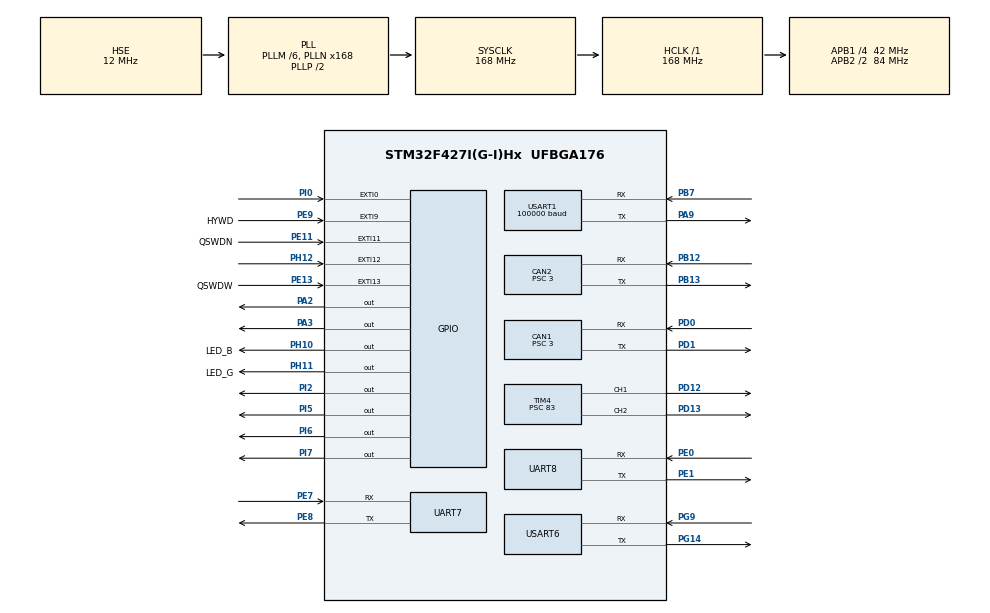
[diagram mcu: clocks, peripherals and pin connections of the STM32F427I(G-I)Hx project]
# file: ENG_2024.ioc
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CAN1.ABOM=DISABLE
CAN1.AWUM=DISABLE
CAN1.BS1=CAN_BS1_10TQ
CAN1.BS2=CAN_BS2_3TQ
CAN1.CalculateBaudRate=1000000
CAN1.CalculateTimeBit=1000
CAN1.CalculateTimeQuantum=71.42857142857143
CAN1.Mode=CAN_MODE_NORMAL
CAN1.NART=DISABLE
CAN1.Prescaler=3
CAN1.RFLM=DISABLE
CAN1.SJW=CAN_SJW_1TQ
CAN1.TTCM=DISABLE
CAN1.TXFP=DISABLE
CAN2.BS1=CAN_BS1_10TQ
CAN2.BS2=CAN_BS2_3TQ
CAN2.CalculateBaudRate=1000000
CAN2.CalculateTimeBit=1000
CAN2.CalculateTimeQuantum=71.42857142857143
CAN2.Prescaler=3
Dma.Request0=USART1_RX
Dma.Request1=UART7_RX
Dma.Request2=USART6_RX
Dma.Request3=UART7_TX
Dma.Request4=USART6_TX
Dma.Request5=UART8_RX
Dma.UART7_RX.1.Direction=DMA_PERIPH_TO_MEMORY
Dma.UART7_RX.1.FIFOMode=DMA_FIFOMODE_DISABLE
Dma.UART7_RX.1.Instance=DMA1_Stream3
Dma.UART7_RX.1.MemDataAlignment=DMA_MDATAALIGN_BYTE
Dma.UART7_RX.1.MemInc=DMA_MINC_ENABLE
Dma.UART7_RX.1.Mode=DMA_CIRCULAR
Dma.UART7_RX.1.PeriphDataAlignment=DMA_PDATAALIGN_BYTE
Dma.UART7_RX.1.PeriphInc=DMA_PINC_DISABLE
Dma.UART7_RX.1.Priority=DMA_PRIORITY_VERY_HIGH
Dma.UART7_TX.3.Direction=DMA_MEMORY_TO_PERIPH
Dma.UART7_TX.3.FIFOMode=DMA_FIFOMODE_DISABLE
Dma.UART7_TX.3.Instance=DMA1_Stream1
Dma.UART7_TX.3.MemDataAlignment=DMA_MDATAALIGN_BYTE
Dma.UART7_TX.3.MemInc=DMA_MINC_ENABLE
Dma.UART7_TX.3.Mode=DMA_NORMAL
Dma.UART7_TX.3.PeriphDataAlignment=DMA_PDATAALIGN_BYTE
Dma.UART7_TX.3.PeriphInc=DMA_PINC_DISABLE
Dma.UART7_TX.3.Priority=DMA_PRIORITY_VERY_HIGH
Dma.UART8_RX.5.Direction=DMA_PERIPH_TO_MEMORY
Dma.UART8_RX.5.FIFOMode=DMA_FIFOMODE_DISABLE
Dma.UART8_RX.5.Instance=DMA1_Stream6
Dma.UART8_RX.5.MemDataAlignment=DMA_MDATAALIGN_BYTE
Dma.UART8_RX.5.MemInc=DMA_MINC_ENABLE
Dma.UART8_RX.5.Mode=DMA_CIRCULAR
Dma.UART8_RX.5.PeriphDataAlignment=DMA_PDATAALIGN_BYTE
Dma.UART8_RX.5.PeriphInc=DMA_PINC_DISABLE
Dma.UART8_RX.5.Priority=DMA_PRIORITY_LOW
Dma.USART1_RX.0.Direction=DMA_PERIPH_TO_MEMORY
Dma.USART1_RX.0.FIFOMode=DMA_FIFOMODE_DISABLE
Dma.USART1_RX.0.Instance=DMA2_Stream2
Dma.USART1_RX.0.MemDataAlignment=DMA_MDATAALIGN_BYTE
Dma.USART1_RX.0.MemInc=DMA_MINC_ENABLE
Dma.USART1_RX.0.Mode=DMA_CIRCULAR
Dma.USART1_RX.0.PeriphDataAlignment=DMA_PDATAALIGN_BYTE
Dma.USART1_RX.0.PeriphInc=DMA_PINC_DISABLE
Dma.USART1_RX.0.Priority=DMA_PRIORITY_VERY_HIGH
Dma.USART6_RX.2.Direction=DMA_PERIPH_TO_MEMORY
Dma.USART6_RX.2.FIFOMode=DMA_FIFOMODE_DISABLE
Dma.USART6_RX.2.Instance=DMA2_Stream1
Dma.USART6_RX.2.MemDataAlignment=DMA_MDATAALIGN_BYTE
Dma.USART6_RX.2.MemInc=DMA_MINC_ENABLE
Dma.USART6_RX.2.Mode=DMA_CIRCULAR
Dma.USART6_RX.2.PeriphDataAlignment=DMA_PDATAALIGN_BYTE
Dma.USART6_RX.2.PeriphInc=DMA_PINC_DISABLE
Dma.USART6_RX.2.Priority=DMA_PRIORITY_LOW
Dma.USART6_TX.4.Direction=DMA_MEMORY_TO_PERIPH
Dma.USART6_TX.4.FIFOMode=DMA_FIFOMODE_DISABLE
Dma.USART6_TX.4.Instance=DMA2_Stream6
Dma.USART6_TX.4.MemDataAlignment=DMA_MDATAALIGN_BYTE
Dma.USART6_TX.4.MemInc=DMA_MINC_ENABLE
Dma.USART6_TX.4.Mode=DMA_NORMAL
Dma.USART6_TX.4.PeriphDataAlignment=DMA_PDATAALIGN_BYTE
Dma.USART6_TX.4.PeriphInc=DMA_PINC_DISABLE
Dma.USART6_TX.4.Priority=DMA_PRIORITY_LOW
FREERTOS.HEAP_NUMBER=4
FREERTOS.INCLUDE_eTaskGetState=0
FREERTOS.INCLUDE_pcTaskGetTaskName=0
FREERTOS.INCLUDE_uxTaskGetStackHighWaterMark=0
FREERTOS.INCLUDE_uxTaskGetStackHighWaterMark2=0
FREERTOS.INCLUDE_uxTaskPriorityGet=1
FREERTOS.INCLUDE_vTaskCleanUpResources=0
FREERTOS.INCLUDE_vTaskDelay=1
FREERTOS.INCLUDE_vTaskDelayUntil=1
FREERTOS.INCLUDE_vTaskDelete=1
FREERTOS.INCLUDE_vTaskPrioritySet=1
FREERTOS.INCLUDE_vTaskSuspend=1
FREERTOS.INCLUDE_xEventGroupSetBitFromISR=0
FREERTOS.INCLUDE_xQueueGetMutexHolder=0
FREERTOS.INCLUDE_xSemaphoreGetMutexHolder=0
FREERTOS.INCLUDE_xTaskAbortDelay=0
FREERTOS.INCLUDE_xTaskGetCurrentTaskHandle=1
FREERTOS.INCLUDE_xTaskGetHandle=0
FREERTOS.INCLUDE_xTaskResumeFromISR=1
FREERTOS.MEMORY_ALLOCATION=2
FREERTOS.Tasks01=defaultTask,8,128,StartDefaultTask,Default,NULL,Dynamic,NULL,NULL;Moto,40,128,MotoTask,As weak,NULL,Dynamic,NULL,NULL;DataSyncAnC,24,128,DataSyncAnCTask,As weak,NULL,Dynamic,NULL,NULL;CtrlLock,24,128,CtrlLockTask,As weak,NULL,Dynamic,NULL,NULL;AutoFetch,24,128,AutoFetchTask,As weak,NULL,Dynamic,NULL,NULL;TimeCtrl,24,128,TimeCtrlTask,As weak,NULL,Dynamic,NULL,NULL;UI,24,128,UITask,As weak,NULL,Dynamic,NULL,NULL;ChassisMoto,24,128,ChassisMotoTask,As weak,NULL,Dynamic,NULL,NULL;ModePose,40,128,ModePoseTask,As weak,NULL,Dynamic,NULL,NULL;RotationSlow,24,128,RotationSlowTask,As weak,NULL,Dynamic,NULL,NULL;Lift,24,128,LiftTask,As weak,NULL,Dynamic,NULL,NULL;VirtualLink,24,128,VirtualLinkTask,As weak,NULL,Dynamic,NULL,NULL;DebugMode,24,128,DebugModeTask,As weak,NULL,Dynamic,NULL,NULL;Offset,24,128,OffsetTask,As weak,NULL,Dynamic,NULL,NULL;canRecv,40,128,canRecvTask,As weak,NULL,Dynamic,NULL,NULL;SecondArm,40,128,SecondArmTask,As weak,NULL,Dynamic,NULL,NULL;ModeManage,40,128,ModeManageTask,As weak,NULL,Dynamic,NULL,NULL;ModeExec,40,128,ModeExecTask,As weak,NULL,Dynamic,NULL,NULL
FREERTOS.configCHECK_FOR_STACK_OVERFLOW=0
FREERTOS.configENABLE_BACKWARD_COMPATIBILITY=1
FREERTOS.configENABLE_FPU=0
FREERTOS.configGENERATE_RUN_TIME_STATS=0
FREERTOS.configIDLE_SHOULD_YIELD=1
FREERTOS.configLIBRARY_LOWEST_INTERRUPT_PRIORITY=15
FREERTOS.configLIBRARY_MAX_SYSCALL_INTERRUPT_PRIORITY=5
FREERTOS.configMAX_CO_ROUTINE_PRIORITIES=2
FREERTOS.configMAX_PRIORITIES=7
FREERTOS.configMAX_TASK_NAME_LEN=16
FREERTOS.configMINIMAL_STACK_SIZE=128
FREERTOS.configQUEUE_REGISTRY_SIZE=8
FREERTOS.configRECORD_STACK_HIGH_ADDRESS=0
FREERTOS.configTICK_RATE_HZ=1000
FREERTOS.configTOTAL_HEAP_SIZE=15360
FREERTOS.configUSE_APPLICATION_TASK_TAG=0
FREERTOS.configUSE_COUNTING_SEMAPHORES=1
FREERTOS.configUSE_CO_ROUTINES=0
FREERTOS.configUSE_DAEMON_TASK_STARTUP_HOOK=0
FREERTOS.configUSE_IDLE_HOOK=0
FREERTOS.configUSE_MALLOC_FAILED_HOOK=0
FREERTOS.configUSE_MUTEXES=1
FREERTOS.configUSE_NEWLIB_REENTRANT=0
FREERTOS.configUSE_POSIX_ERRNO=0
FREERTOS.configUSE_PREEMPTION=1
FREERTOS.configUSE_RECURSIVE_MUTEXES=1
FREERTOS.configUSE_STATS_FORMATTING_FUNCTIONS=0
FREERTOS.configUSE_TASK_NOTIFICATIONS=1
FREERTOS.configUSE_TICKLESS_IDLE=0
FREERTOS.configUSE_TICK_HOOK=0
FREERTOS.configUSE_TIMERS=0
FREERTOS.configUSE_TRACE_FACILITY=0
FREERTOS.copyHeapFile=1
Mcu.Family=STM32F4
Mcu.Name=STM32F427I(G-I)Hx
Mcu.Package=UFBGA176
NVIC.CAN1_RX0_IRQn=true\:5\:0\:false\:false\:true\:true\:true\:true\:true
NVIC.CAN1_RX1_IRQn=true\:5\:0\:false\:false\:true\:true\:true\:true\:true
NVIC.CAN2_RX0_IRQn=true\:5\:0\:true\:false\:true\:true\:true\:true\:true
NVIC.CAN2_RX1_IRQn=true\:5\:0\:true\:false\:true\:true\:true\:true\:true
NVIC.DMA1_Stream1_IRQn=true\:5\:0\:false\:false\:true\:true\:false\:true\:true
NVIC.DMA1_Stream3_IRQn=true\:5\:0\:false\:false\:true\:true\:false\:true\:true
NVIC.DMA1_Stream6_IRQn=true\:5\:0\:false\:false\:true\:true\:false\:true\:true
NVIC.DMA2_Stream1_IRQn=true\:5\:0\:false\:false\:true\:true\:false\:true\:true
NVIC.DMA2_Stream2_IRQn=true\:5\:0\:true\:false\:true\:false\:true\:true\:true
NVIC.DMA2_Stream6_IRQn=true\:5\:0\:false\:false\:true\:true\:false\:true\:true
NVIC.EXTI0_IRQn=true\:5\:0\:false\:false\:true\:true\:true\:true\:true
NVIC.EXTI15_10_IRQn=true\:5\:0\:false\:false\:true\:true\:true\:true\:true
NVIC.EXTI9_5_IRQn=true\:5\:0\:false\:false\:true\:true\:true\:true\:true
NVIC.PriorityGroup=NVIC_PRIORITYGROUP_4
NVIC.TIM7_IRQn=true\:15\:0\:false\:false\:true\:false\:true\:true\:true
NVIC.TimeBase=TIM7_IRQn
NVIC.TimeBaseIP=TIM7
NVIC.UART7_IRQn=true\:5\:0\:false\:false\:true\:true\:true\:true\:true
NVIC.UART8_IRQn=true\:5\:0\:false\:false\:true\:true\:true\:true\:true
NVIC.USART1_IRQn=true\:5\:0\:true\:false\:true\:true\:true\:true\:true
NVIC.USART6_IRQn=true\:5\:0\:false\:false\:true\:true\:true\:true\:true
PA13.Mode=Serial_Wire
PA13.Signal=SYS_JTMS-SWDIO
PA14.Mode=Serial_Wire
PA14.Signal=SYS_JTCK-SWCLK
PA2.GPIO_PuPd=GPIO_PULLDOWN
PA2.Signal=GPIO_Output
PA3.GPIO_PuPd=GPIO_PULLDOWN
PA3.Signal=GPIO_Output
PA9.Mode=Asynchronous
PA9.Signal=USART1_TX
PB12.Mode=CAN_Activate
PB12.Signal=CAN2_RX
PB13.Mode=CAN_Activate
PB13.Signal=CAN2_TX
PB7.Mode=Asynchronous
PB7.Signal=USART1_RX
PD0.Mode=CAN_Activate
PD0.Signal=CAN1_RX
PD1.Mode=CAN_Activate
PD1.Signal=CAN1_TX
PD12.Signal=S_TIM4_CH1
PD13.Signal=S_TIM4_CH2
PE0.Mode=Asynchronous
PE0.Signal=UART8_RX
PE1.Mode=Asynchronous
PE1.Signal=UART8_TX
PE11.GPIO_Label=QSWDN
PE11.GPIO_ModeDefaultEXTI=GPIO_MODE_IT_RISING_FALLING
PE11.GPIO_PuPd=GPIO_PULLDOWN
PE11.Signal=GPXTI11
PE13.GPIO_Label=QSWDW
PE13.GPIO_ModeDefaultEXTI=GPIO_MODE_IT_RISING_FALLING
PE13.GPIO_PuPd=GPIO_PULLDOWN
PE13.Signal=GPXTI13
PE7.Mode=Asynchronous
PE7.Signal=UART7_RX
PE8.Mode=Asynchronous
PE8.Signal=UART7_TX
PE9.GPIO_Label=HYWD
PE9.GPIO_ModeDefaultEXTI=GPIO_MODE_IT_RISING_FALLING
PE9.GPIO_PuPd=GPIO_PULLDOWN
PE9.Signal=GPXTI9
PG14.Mode=Asynchronous
PG14.Signal=USART6_TX
PG9.Mode=Asynchronous
PG9.Signal=USART6_RX
PH0/OSC_IN.Mode=HSE-External-Oscillator
PH0/OSC_IN.Signal=RCC_OSC_IN
PH1/OSC_OUT.Mode=HSE-External-Oscillator
PH1/OSC_OUT.Signal=RCC_OSC_OUT
PH10.GPIO_Label=LED_B
PH10.Signal=GPIO_Output
PH11.GPIO_Label=LED_G
PH11.Signal=GPIO_Output
PH12.GPIO_ModeDefaultEXTI=GPIO_MODE_IT_RISING_FALLING
PH12.GPIO_PuPd=GPIO_PULLDOWN
PH12.Signal=GPXTI12
PI0.GPIO_ModeDefaultEXTI=GPIO_MODE_IT_RISING_FALLING
PI0.GPIO_PuPd=GPIO_PULLDOWN
PI0.Signal=GPXTI0
PI2.GPIO_PuPd=GPIO_PULLDOWN
PI2.Signal=GPIO_Output
PI5.GPIO_PuPd=GPIO_PULLDOWN
PI5.Signal=GPIO_Output
PI6.GPIO_PuPd=GPIO_PULLDOWN
PI6.Signal=GPIO_Output
PI7.GPIO_PuPd=GPIO_PULLDOWN
PI7.Signal=GPIO_Output
ProjectManager.HeapSize=0x200
ProjectManager.StackSize=0x400
ProjectManager.TargetToolchain=MDK-ARM V5
RCC.48MHZClocksFreq_Value=84000000
RCC.AHBFreq_Value=168000000
RCC.APB1CLKDivider=RCC_HCLK_DIV4
RCC.APB1Freq_Value=42000000
RCC.APB1TimFreq_Value=84000000
RCC.APB2CLKDivider=RCC_HCLK_DIV2
RCC.APB2Freq_Value=84000000
RCC.APB2TimFreq_Value=168000000
RCC.CortexFreq_Value=168000000
RCC.FLatency=FLASH_LATENCY_5
RCC.HCLKFreq_Value=168000000
RCC.HSE_VALUE=12000000
RCC.HSI_VALUE=16000000
RCC.LSE_VALUE=32768
RCC.PLLM=6
RCC.PLLN=168
RCC.PLLSourceVirtual=RCC_PLLSOURCE_HSE
RCC.PWR_Regulator_Voltage_Scale=PWR_REGULATOR_VOLTAGE_SCALE1
RCC.SYSCLKFreq_VALUE=168000000
RCC.SYSCLKSource=RCC_SYSCLKSOURCE_PLLCLK
RCC.VCOOutputFreq_Value=336000000
SH.S_TIM4_CH1.0=TIM4_CH1,PWM Generation1 CH1
SH.S_TIM4_CH2.0=TIM4_CH2,PWM Generation2 CH2
TIM2.AutoReloadPreload=TIM_AUTORELOAD_PRELOAD_ENABLE
TIM2.ClockDivision=TIM_CLOCKDIVISION_DIV1
TIM2.CounterMode=TIM_COUNTERMODE_UP
TIM2.Period=0xffffffff
TIM2.Prescaler=84-1
TIM2.TIM_MasterOutputTrigger=TIM_TRGO_RESET
TIM2.TIM_MasterSlaveMode=TIM_MASTERSLAVEMODE_DISABLE
TIM4.Channel-PWM\ Generation1\ CH1=TIM_CHANNEL_1
TIM4.Channel-PWM\ Generation2\ CH2=TIM_CHANNEL_2
TIM4.Period=20000
TIM4.Prescaler=83
UART7.Parity=PARITY_NONE
UART7.VirtualMode=Asynchronous
UART7.WordLength=WORDLENGTH_8B
UART8.VirtualMode=Asynchronous
USART1.BaudRate=100000
USART1.Mode=MODE_RX
USART1.Parity=PARITY_EVEN
USART1.VirtualMode=VM_ASYNC
USART6.Parity=PARITY_NONE
USART6.VirtualMode=VM_ASYNC
USART6.WordLength=WORDLENGTH_8B
VP_FREERTOS_VS_CMSIS_V2.Mode=CMSIS_V2
VP_SYS_VS_tim7.Mode=TIM7
VP_TIM2_VS_ClockSourceINT.Mode=Internal
board=custom

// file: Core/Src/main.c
/* USER CODE BEGIN Header */
/**
  ******************************************************************************
  * @file           : main.c
  * @brief          : Main program body
  ******************************************************************************
  * @attention
  *
  * Copyright (c) 2024 STMicroelectronics.
  * All rights reserved.
  *
  * This software is licensed under terms that can be found in the LICENSE file
  * in the root directory of this software component.
  * If no LICENSE file comes with this software, it is provided AS-IS.
  *
  ******************************************************************************
  */
/* USER CODE END Header */
#include "main.h"
#include "cmsis_os.h"
#include "can.h"
#include "dma.h"
#include "tim.h"
#include "usart.h"
#include "gpio.h"

/* USER CODE BEGIN Includes */
#include "can_zbw.h"
#include "uart_zbw.h"
#include "trace.h"
#include "RcDriver.h"
#include "key.h"
#include "wd.h"
#include "pwm.h"
/* USER CODE END Includes */

void SystemClock_Config(void);
void MX_FREERTOS_Init(void);

int main(void)
{

  /* MCU Configuration--------------------------------------------------------*/

  /* Reset of all peripherals, Initializes the Flash interface and the Systick. */
  HAL_Init();

  /* Configure the system clock */
  SystemClock_Config();

  /* Initialize all configured peripherals */
  MX_GPIO_Init();
  MX_DMA_Init();
  MX_CAN1_Init();
  MX_CAN2_Init();
  MX_TIM2_Init();
  MX_USART1_UART_Init();
  MX_UART7_Init();
  MX_USART6_UART_Init();
  MX_TIM4_Init();
  MX_UART8_Init();
  /* USER CODE BEGIN 2 */
	can_filter_init();
	__HAL_TIM_ENABLE(&htim2);
	usart_dma_init();
//	usart_init();
	wd_init();
	trace_init();
	PWM_Start();
	Key_Init();
  /* USER CODE END 2 */

  /* Init scheduler */
  osKernelInitialize();

  /* Call init function for freertos objects (in freertos.c) */
  MX_FREERTOS_Init();

  /* Start scheduler */
  osKernelStart();

  /* We should never get here as control is now taken by the scheduler */
  /* Infinite loop */
  while (1)
  {

  }
}

void SystemClock_Config(void)
{
  RCC_OscInitTypeDef RCC_OscInitStruct = {0};
  RCC_ClkInitTypeDef RCC_ClkInitStruct = {0};

  /** Configure the main internal regulator output voltage
  */
  __HAL_RCC_PWR_CLK_ENABLE();
  __HAL_PWR_VOLTAGESCALING_CONFIG(PWR_REGULATOR_VOLTAGE_SCALE1);

  /** Initializes the RCC Oscillators according to the specified parameters
  * in the RCC_OscInitTypeDef structure.
  */
  RCC_OscInitStruct.OscillatorType = RCC_OSCILLATORTYPE_HSE;
  RCC_OscInitStruct.HSEState = RCC_HSE_ON;
  RCC_OscInitStruct.PLL.PLLState = RCC_PLL_ON;
  RCC_OscInitStruct.PLL.PLLSource = RCC_PLLSOURCE_HSE;
  RCC_OscInitStruct.PLL.PLLM = 6;
  RCC_OscInitStruct.PLL.PLLN = 168;
  RCC_OscInitStruct.PLL.PLLP = RCC_PLLP_DIV2;
  RCC_OscInitStruct.PLL.PLLQ = 4;
  if (HAL_RCC_OscConfig(&RCC_OscInitStruct) != HAL_OK)
  {
    Error_Handler();
  }

  /** Initializes the CPU, AHB and APB buses clocks
  */
  RCC_ClkInitStruct.ClockType = RCC_CLOCKTYPE_HCLK|RCC_CLOCKTYPE_SYSCLK
                              |RCC_CLOCKTYPE_PCLK1|RCC_CLOCKTYPE_PCLK2;
  RCC_ClkInitStruct.SYSCLKSource = RCC_SYSCLKSOURCE_PLLCLK;
  RCC_ClkInitStruct.AHBCLKDivider = RCC_SYSCLK_DIV1;
  RCC_ClkInitStruct.APB1CLKDivider = RCC_HCLK_DIV4;
  RCC_ClkInitStruct.APB2CLKDivider = RCC_HCLK_DIV2;

  if (HAL_RCC_ClockConfig(&RCC_ClkInitStruct, FLASH_LATENCY_5) != HAL_OK)
  {
    Error_Handler();
  }
}

void HAL_TIM_PeriodElapsedCallback(TIM_HandleTypeDef *htim)
{
  if (htim->Instance == TIM7) {
    HAL_IncTick();
  }
}

void Error_Handler(void)
{
  __disable_irq();
  while (1)
  {
  }
}

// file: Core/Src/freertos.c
/* USER CODE BEGIN Header */
/**
  ******************************************************************************
  * File Name          : freertos.c
  * Description        : Code for freertos applications
  ******************************************************************************
  * @attention
  *
  * Copyright (c) 2024 STMicroelectronics.
  * All rights reserved.
  *
  * This software is licensed under terms that can be found in the LICENSE file
  * in the root directory of this software component.
  * If no LICENSE file comes with this software, it is provided AS-IS.
  *
  ******************************************************************************
  */
/* USER CODE END Header */

#include "FreeRTOS.h"
#include "task.h"
#include "main.h"
#include "cmsis_os.h"

/* Definitions for defaultTask */
osThreadId_t defaultTaskHandle;
const osThreadAttr_t defaultTask_attributes = {
  .name = "defaultTask",
  .stack_size = 128 * 4,
  .priority = (osPriority_t) osPriorityLow,
};
/* Definitions for Moto */
osThreadId_t MotoHandle;
const osThreadAttr_t Moto_attributes = {
  .name = "Moto",
  .stack_size = 128 * 4,
  .priority = (osPriority_t) osPriorityHigh,
};
/* Definitions for DataSyncAnC */
osThreadId_t DataSyncAnCHandle;
const osThreadAttr_t DataSyncAnC_attributes = {
  .name = "DataSyncAnC",
  .stack_size = 128 * 4,
  .priority = (osPriority_t) osPriorityNormal,
};
/* Definitions for CtrlLock */
osThreadId_t CtrlLockHandle;
const osThreadAttr_t CtrlLock_attributes = {
  .name = "CtrlLock",
  .stack_size = 128 * 4,
  .priority = (osPriority_t) osPriorityNormal,
};
/* Definitions for AutoFetch */
osThreadId_t AutoFetchHandle;
const osThreadAttr_t AutoFetch_attributes = {
  .name = "AutoFetch",
  .stack_size = 128 * 4,
  .priority = (osPriority_t) osPriorityNormal,
};
/* Definitions for TimeCtrl */
osThreadId_t TimeCtrlHandle;
const osThreadAttr_t TimeCtrl_attributes = {
  .name = "TimeCtrl",
  .stack_size = 128 * 4,
  .priority = (osPriority_t) osPriorityNormal,
};
/* Definitions for UI */
osThreadId_t UIHandle;
const osThreadAttr_t UI_attributes = {
  .name = "UI",
  .stack_size = 128 * 4,
  .priority = (osPriority_t) osPriorityNormal,
};
/* Definitions for ChassisMoto */
osThreadId_t ChassisMotoHandle;
const osThreadAttr_t ChassisMoto_attributes = {
  .name = "ChassisMoto",
  .stack_size = 128 * 4,
  .priority = (osPriority_t) osPriorityNormal,
};
/* Definitions for ModePose */
osThreadId_t ModePoseHandle;
const osThreadAttr_t ModePose_attributes = {
  .name = "ModePose",
  .stack_size = 128 * 4,
  .priority = (osPriority_t) osPriorityHigh,
};
/* Definitions for RotationSlow */
osThreadId_t RotationSlowHandle;
const osThreadAttr_t RotationSlow_attributes = {
  .name = "RotationSlow",
  .stack_size = 128 * 4,
  .priority = (osPriority_t) osPriorityNormal,
};
/* Definitions for Lift */
osThreadId_t LiftHandle;
const osThreadAttr_t Lift_attributes = {
  .name = "Lift",
  .stack_size = 128 * 4,
  .priority = (osPriority_t) osPriorityNormal,
};
/* Definitions for VirtualLink */
osThreadId_t VirtualLinkHandle;
const osThreadAttr_t VirtualLink_attributes = {
  .name = "VirtualLink",
  .stack_size = 128 * 4,
  .priority = (osPriority_t) osPriorityNormal,
};
/* Definitions for DebugMode */
osThreadId_t DebugModeHandle;
const osThreadAttr_t DebugMode_attributes = {
  .name = "DebugMode",
  .stack_size = 128 * 4,
  .priority = (osPriority_t) osPriorityNormal,
};
/* Definitions for Offset */
osThreadId_t OffsetHandle;
const osThreadAttr_t Offset_attributes = {
  .name = "Offset",
  .stack_size = 128 * 4,
  .priority = (osPriority_t) osPriorityNormal,
};
/* Definitions for canRecv */
osThreadId_t canRecvHandle;
const osThreadAttr_t canRecv_attributes = {
  .name = "canRecv",
  .stack_size = 128 * 4,
  .priority = (osPriority_t) osPriorityHigh,
};
/* Definitions for SecondArm */
osThreadId_t SecondArmHandle;
const osThreadAttr_t SecondArm_attributes = {
  .name = "SecondArm",
  .stack_size = 128 * 4,
  .priority = (osPriority_t) osPriorityHigh,
};
/* Definitions for ModeManage */
osThreadId_t ModeManageHandle;
const osThreadAttr_t ModeManage_attributes = {
  .name = "ModeManage",
  .stack_size = 128 * 4,
  .priority = (osPriority_t) osPriorityHigh,
};
/* Definitions for ModeExec */
osThreadId_t ModeExecHandle;
const osThreadAttr_t ModeExec_attributes = {
  .name = "ModeExec",
  .stack_size = 128 * 4,
  .priority = (osPriority_t) osPriorityHigh,
};

void StartDefaultTask(void *argument);
void MotoTask(void *argument);
void DataSyncAnCTask(void *argument);
void CtrlLockTask(void *argument);
void AutoFetchTask(void *argument);
void TimeCtrlTask(void *argument);
void UITask(void *argument);
void ChassisMotoTask(void *argument);
void ModePoseTask(void *argument);
void RotationSlowTask(void *argument);
void LiftTask(void *argument);
void VirtualLinkTask(void *argument);
void DebugModeTask(void *argument);
void OffsetTask(void *argument);
void canRecvTask(void *argument);
void SecondArmTask(void *argument);
void ModeManageTask(void *argument);
void ModeExecTask(void *argument);

void MX_FREERTOS_Init(void); /* (MISRA C 2004 rule 8.1) */

void MX_FREERTOS_Init(void) {

  /* Create the thread(s) */
  /* creation of defaultTask */
  defaultTaskHandle = osThreadNew(StartDefaultTask, NULL, &defaultTask_attributes);

  /* creation of Moto */
  MotoHandle = osThreadNew(MotoTask, NULL, &Moto_attributes);

  /* creation of DataSyncAnC */
  DataSyncAnCHandle = osThreadNew(DataSyncAnCTask, NULL, &DataSyncAnC_attributes);

  /* creation of CtrlLock */
  CtrlLockHandle = osThreadNew(CtrlLockTask, NULL, &CtrlLock_attributes);

  /* creation of AutoFetch */
  AutoFetchHandle = osThreadNew(AutoFetchTask, NULL, &AutoFetch_attributes);

  /* creation of TimeCtrl */
  TimeCtrlHandle = osThreadNew(TimeCtrlTask, NULL, &TimeCtrl_attributes);

  /* creation of UI */
  UIHandle = osThreadNew(UITask, NULL, &UI_attributes);

  /* creation of ChassisMoto */
  ChassisMotoHandle = osThreadNew(ChassisMotoTask, NULL, &ChassisMoto_attributes);

  /* creation of ModePose */
  ModePoseHandle = osThreadNew(ModePoseTask, NULL, &ModePose_attributes);

  /* creation of RotationSlow */
  RotationSlowHandle = osThreadNew(RotationSlowTask, NULL, &RotationSlow_attributes);

  /* creation of Lift */
  LiftHandle = osThreadNew(LiftTask, NULL, &Lift_attributes);

  /* creation of VirtualLink */
  VirtualLinkHandle = osThreadNew(VirtualLinkTask, NULL, &VirtualLink_attributes);

  /* creation of DebugMode */
  DebugModeHandle = osThreadNew(DebugModeTask, NULL, &DebugMode_attributes);

  /* creation of Offset */
  OffsetHandle = osThreadNew(OffsetTask, NULL, &Offset_attributes);

  /* creation of canRecv */
  canRecvHandle = osThreadNew(canRecvTask, NULL, &canRecv_attributes);

  /* creation of SecondArm */
  SecondArmHandle = osThreadNew(SecondArmTask, NULL, &SecondArm_attributes);

  /* creation of ModeManage */
  ModeManageHandle = osThreadNew(ModeManageTask, NULL, &ModeManage_attributes);

  /* creation of ModeExec */
  ModeExecHandle = osThreadNew(ModeExecTask, NULL, &ModeExec_attributes);

}

void StartDefaultTask(void *argument)
{
  for(;;)
  {
    osDelay(1);
  }
}

__weak void MotoTask(void *argument)
{
  /* USER CODE BEGIN MotoTask */
  /* Infinite loop */
  for(;;)
  {
    osDelay(1000);
  }
  /* USER CODE END MotoTask */
}

__weak void DataSyncAnCTask(void *argument)
{
  /* USER CODE BEGIN DataSyncAnCTask */
  /* Infinite loop */
  for(;;)
  {
    osDelay(1000);
  }
  /* USER CODE END DataSyncAnCTask */
}

__weak void CtrlLockTask(void *argument)
{
  /* USER CODE BEGIN CtrlLockTask */
  /* Infinite loop */
  for(;;)
  {
    osDelay(1000);
  }
  /* USER CODE END CtrlLockTask */
}

__weak void AutoFetchTask(void *argument)
{
  /* USER CODE BEGIN AutoFetchTask */
  /* Infinite loop */
  for(;;)
  {
    osDelay(1000);
  }
  /* USER CODE END AutoFetchTask */
}

__weak void TimeCtrlTask(void *argument)
{
  /* USER CODE BEGIN TimeCtrlTask */
  /* Infinite loop */
  for(;;)
  {
    osDelay(1000);
  }
  /* USER CODE END TimeCtrlTask */
}

__weak void UITask(void *argument)
{
  /* USER CODE BEGIN UITask */
  /* Infinite loop */
  for(;;)
  {
    osDelay(1000);
  }
  /* USER CODE END UITask */
}

__weak void ChassisMotoTask(void *argument)
{
  /* USER CODE BEGIN ChassisMotoTask */
  /* Infinite loop */
  for(;;)
  {
    osDelay(1000);
  }
  /* USER CODE END ChassisMotoTask */
}

__weak void ModePoseTask(void *argument)
{
  /* USER CODE BEGIN ModePoseTask */
  /* Infinite loop */
  for(;;)
  {
    osDelay(1000);
  }
  /* USER CODE END ModePoseTask */
}

__weak void RotationSlowTask(void *argument)
{
  /* USER CODE BEGIN RotationSlowTask */
  /* Infinite loop */
  for(;;)
  {
    osDelay(1000);
  }
  /* USER CODE END RotationSlowTask */
}

__weak void LiftTask(void *argument)
{
  /* USER CODE BEGIN LiftTask */
  /* Infinite loop */
  for(;;)
  {
    osDelay(1000);
  }
  /* USER CODE END LiftTask */
}

__weak void VirtualLinkTask(void *argument)
{
  /* USER CODE BEGIN VirtualLinkTask */
  /* Infinite loop */
  for(;;)
  {
    osDelay(1000);
  }
  /* USER CODE END VirtualLinkTask */
}

__weak void DebugModeTask(void *argument)
{
  /* USER CODE BEGIN DebugModeTask */
  /* Infinite loop */
  for(;;)
  {
    osDelay(1000);
  }
  /* USER CODE END DebugModeTask */
}

__weak void OffsetTask(void *argument)
{
  /* USER CODE BEGIN OffsetTask */
  /* Infinite loop */
  for(;;)
  {
    osDelay(1000);
  }
  /* USER CODE END OffsetTask */
}

__weak void canRecvTask(void *argument)
{
  /* USER CODE BEGIN canRecvTask */
  /* Infinite loop */
  for(;;)
  {
    osDelay(1000);
  }
  /* USER CODE END canRecvTask */
}

__weak void SecondArmTask(void *argument)
{
  for(;;)
  {
    osDelay(1);
  }
}

__weak void ModeManageTask(void *argument)
{
  for(;;)
  {
    osDelay(1);
  }
}

__weak void ModeExecTask(void *argument)
{
  for(;;)
  {
    osDelay(1);
  }
}
